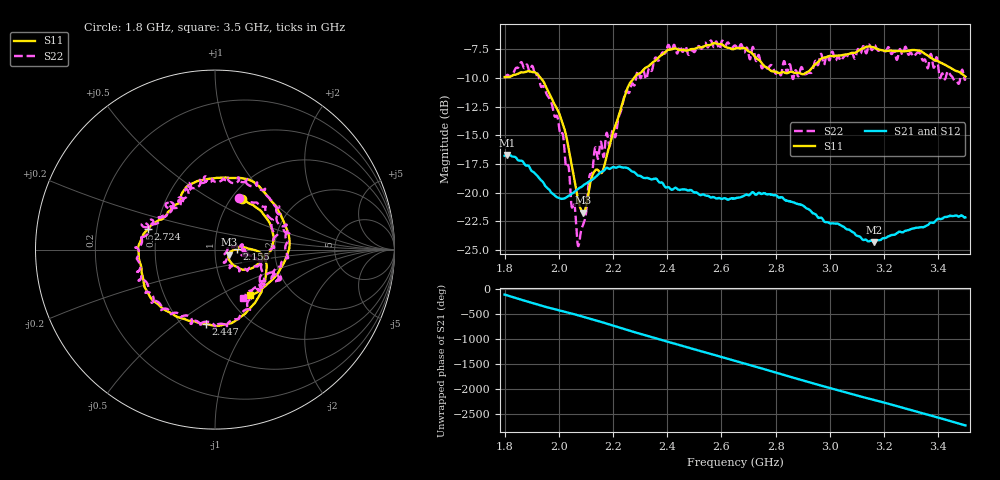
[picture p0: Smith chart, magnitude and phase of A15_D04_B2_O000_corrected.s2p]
! Created with skrf 1.9.0 (http://scikit-rf.org).
# Hz S RI R 50.0
!freq ReS11 ImS11 ReS21 ImS21 ReS12 ImS12 ReS22 ImS22
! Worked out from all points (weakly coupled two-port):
!   1601 points, 1.8 GHz to 3.5 GHz, reference 50 ohm
!   highest |S21| = -16.71 dB at 1.811 GHz (marker M1); lowest = -24.3 dB at 3.162 GHz (marker M2)
!   lowest |S11| = -21.8 dB at 2.09 GHz (marker M3), VSWR 1.18, Z = 58.2 - j3.22 ohm
!   |S11| at or under -10 dB: 1.933 GHz to 2.277 GHz (344.1 MHz wide, 16.3 % of centre)
!   |S22| runs from -24.7 to -6.7 dB; largest |S21 - S12| = 0.0024
!   S11 on the Smith chart (normalised r, x): 1.8 GHz: 1.12, +0.70; 2.155 GHz: 1.28, +0.01; 2.447 GHz: 0.65, -0.65; 2.724 GHz: 0.45, +0.12; 3.5 GHz: 1.26, -0.71
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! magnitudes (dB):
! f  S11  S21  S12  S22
! 1.8 GHz  -9.9  -16.8  -16.8  -10.0
! 1.811 GHz  -9.9  -16.7  -16.7  -9.7
! 1.902 GHz  -9.5  -18.2  -18.1  -8.9
! 1.967 GHz  -11.5  -19.8  -19.9  -11.8
! 2.014 GHz  -13.9  -20.5  -20.6  -14.8
! 2.071 GHz  -20.6  -19.7  -19.7  -24.7
! 2.084 GHz  -21.6  -19.5  -19.5  -23.1
! 2.09 GHz  -21.8  -19.4  -19.4  -22.8
! 2.13 GHz  -18.2  -18.7  -18.7  -16.6
! 2.155 GHz  -18.3  -18.2  -18.2  -15.6
! 2.209 GHz  -14.1  -17.8  -17.8  -15.1
! 2.259 GHz  -10.6  -17.9  -17.9  -11.3
! 2.367 GHz  -8.2  -19.0  -19.0  -8.5
! 2.447 GHz  -7.6  -19.8  -19.8  -7.2
! 2.65 GHz  -7.4  -20.5  -20.5  -7.2
! 2.724 GHz  -8.2  -20.2  -20.1  -8.3
! 2.808 GHz  -9.6  -20.4  -20.3  -9.4
! 2.934 GHz  -9.1  -21.7  -21.7  -9.5
! 3.162 GHz  -7.3  -24.3  -24.3  -7.2
! 3.217 GHz  -7.6  -23.8  -23.8  -7.3
! 3.332 GHz  -7.6  -23.0  -23.0  -7.8
! 3.5 GHz  -9.9  -22.2  -22.1  -10.1
